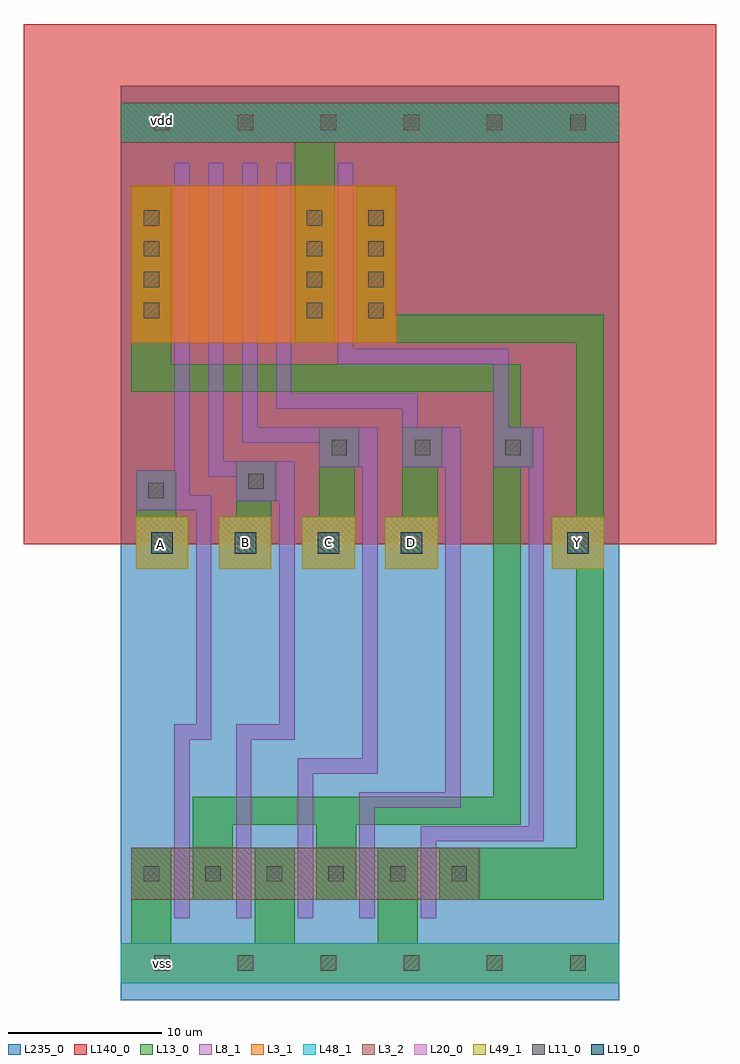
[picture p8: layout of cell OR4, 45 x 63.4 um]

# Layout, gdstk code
import gdstk
lib = gdstk.Library(unit=1e-6, precision=1e-09)
def R(c, l, rs):  # rectangles x0, y0, x1, y1
    for r in rs: c.add(gdstk.rectangle(r[:2], r[2:], *l))
def A(c, l, x, y, w, h, nx, ny, dx, dy):  # array of equal rectangles
    R(c, l, [(x+i*dx, y+j*dy, x+i*dx+w, y+j*dy+h) for i in range(nx) for j in range(ny)])
def P(c, l, *ps):  # polygons
    for p in ps: c.add(gdstk.Polygon(p, *l))
L3_1 = (3, 1)
L3_2 = (3, 2)
L8_1 = (8, 1)
L11_0 = (11, 0)
L13_0 = (13, 0)
L19_0 = (19, 0)
L20_0 = (20, 0)
L48_1 = (48, 1)
L49_1 = (49, 1)
L140_0 = (140, 0)
L235_0 = (235, 0)

or4 = lib.new_cell('OR4')
R(or4, L3_1, [(0,1.1,32.4,3.7), (0.7,42.7,17.9,52.9)])
R(or4, L3_2, [(0.7,6.5,23.3,9.9), (0,55.7,32.4,58.3)])
P(or4, L8_1, [(3.5,5.3),(3.5,17.9),(4.9,17.9),(4.9,31.8),(1,31.8),(1,34.4),(3.5,34.4),(3.5,54.4),(4.5,54.4),(4.5,32.8),(5.9,32.8),(5.9,16.9),(4.5,16.9),(4.5,5.3)],
  [(7.5,5.3),(7.5,17.9),(10.3,17.9),(10.3,32.4),(7.5,32.4),(7.5,34),(5.7,34),(5.7,54.4),(6.7,54.4),(6.7,35),(11.3,35),(11.3,16.9),(8.5,16.9),(8.5,5.3)],
  [(11.5,5.3),(11.5,15.7),(15.7,15.7),(15.7,34.6),(12.9,34.6),(12.9,36.2),(7.9,36.2),(7.9,54.4),(8.9,54.4),(8.9,37.2),(16.7,37.2),(16.7,14.7),(12.5,14.7),(12.5,5.3)],
  [(15.5,5.3),(15.5,13.5),(21.1,13.5),(21.1,34.6),(18.3,34.6),(18.3,38.4),(10.1,38.4),(10.1,54.4),(11.1,54.4),(11.1,39.4),(19.3,39.4),(19.3,37.2),(22.1,37.2),(22.1,12.5),(16.5,12.5),(16.5,5.3)],
  [(19.5,5.3),(19.5,11.3),(26.5,11.3),(26.5,34.6),(24.2,34.6),(24.2,41.3),(14.1,41.3),(14.1,54.4),(15.1,54.4),(15.1,42.3),(25.2,42.3),(25.2,37.2),(27.5,37.2),(27.5,10.3),(20.5,10.3),(20.5,5.3)])
A(or4, L11_0, 7.6, 1.9, 1, 1, 5, 2, 5.4, 54.6)
A(or4, L11_0, 1.5, 7.7, 1, 1, 6, 1, 4, 0)
A(or4, L11_0, 1.5, 44.3, 1, 1, 1, 4, 0, 2)
A(or4, L11_0, 12.1, 44.3, 1, 1, 1, 4, 0, 2)
A(or4, L11_0, 16.1, 44.3, 1, 1, 1, 4, 0, 2)
R(or4, L11_0, [(2.2,1.9,3.2,2.9), (7.6,1.9,8.6,2.9), (1.8,32.6,2.8,33.6), (8.3,33.2,9.3,34.2), (13.7,35.4,14.7,36.4), (19.1,35.4,20.1,36.4), (25,35.4,26,36.4), (2.2,56.5,3.2,57.5), (2.2,56.5,3.2,57.5), (7.6,56.5,8.6,57.5), (7.6,56.5,8.6,57.5), (7.6,56.5,8.6,57.5)])
A(or4, L13_0, 0.7, 3.7, 2.6, 6.2, 3, 1, 8, 0)
R(or4, L13_0, [(0,1.1,32.4,3.7), (11.3,42.7,13.9,55.7), (0,55.7,32.4,58.3)])
P(or4, L13_0, [(1,28),(1,34.4),(3.6,34.4),(3.6,31.4),(4.4,31.4),(4.4,28)],
  [(6.4,28),(6.4,31.4),(7.5,31.4),(7.5,35),(10.1,35),(10.1,32.4),(9.8,32.4),(9.8,28)],
  [(11.8,28),(11.8,31.4),(12.9,31.4),(12.9,37.2),(15.5,37.2),(15.5,34.6),(15.2,34.6),(15.2,28)],
  [(17.2,28),(17.2,31.4),(18.3,31.4),(18.3,37.2),(20.9,37.2),(20.9,34.6),(20.6,34.6),(20.6,28)],
  [(4.7,6.5),(4.7,13.2),(24.2,13.2),(24.2,39.5),(0.7,39.5),(0.7,52.9),(3.3,52.9),(3.3,41.3),(26,41.3),(26,37.2),(26.8,37.2),(26.8,34.6),(26,34.6),(26,11.4),(15.3,11.4),(15.3,6.5),(12.7,6.5),(12.7,11.4),(7.3,11.4),(7.3,6.5)],
  [(20.7,6.5),(20.7,9.9),(29.6,9.9),(29.6,28),(28,28),(28,31.4),(29.6,31.4),(29.6,42.7),(15.3,42.7),(15.3,52.9),(17.9,52.9),(17.9,44.5),(31.4,44.5),(31.4,6.5)])
A(or4, L19_0, 2, 29, 1.4, 1.4, 4, 1, 5.4, 0)
R(or4, L19_0, [(29,29,30.4,30.4)])
A(or4, L20_0, 1, 28, 3.4, 3.4, 4, 1, 5.4, 0)
R(or4, L20_0, [(28,28,31.4,31.4)])
R(or4, L48_1, [(0,1.1,32.4,3.7), (0,55.7,32.4,58.3)])
A(or4, L49_1, 1, 28, 3.4, 3.4, 4, 1, 5.4, 0)
R(or4, L49_1, [(28,28,31.4,31.4)])
R(or4, L140_0, [(-6.3,29.6,38.7,63.4)])
R(or4, L235_0, [(0,0,32.4,59.4)])
or4.add(gdstk.Label('Y', (29.7,29.7), layer=49, texttype=0))
or4.add(gdstk.Label('C', (13.5,29.7), layer=49, texttype=0))
or4.add(gdstk.Label('D', (18.9,29.7), layer=49, texttype=0))
or4.add(gdstk.Label('A', (2.6,29.6), layer=49, texttype=0))
or4.add(gdstk.Label('B', (8.1,29.7), layer=49, texttype=0))
or4.add(gdstk.Label('vss', (2.7,2.4), layer=48, texttype=0))
or4.add(gdstk.Label('vdd', (2.7,57.1), layer=48, texttype=0))

lib.write_gds('OR4.gds')
